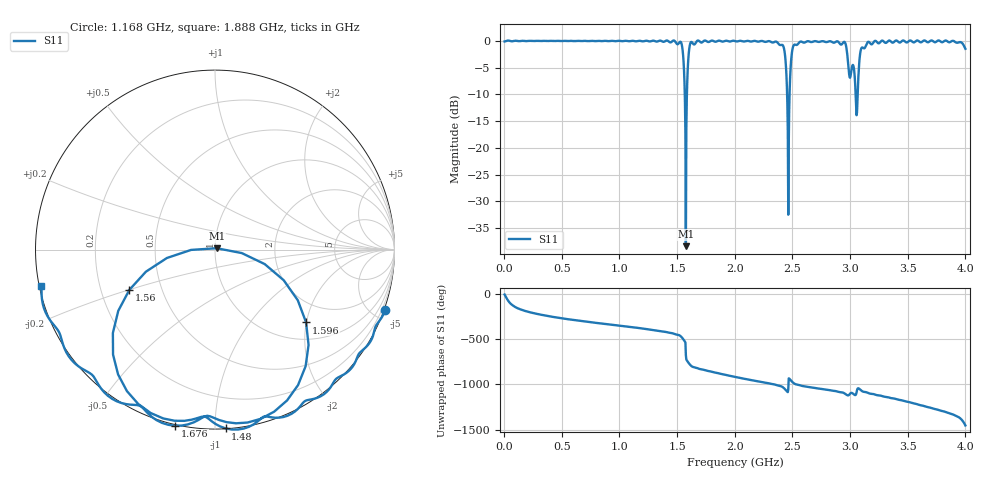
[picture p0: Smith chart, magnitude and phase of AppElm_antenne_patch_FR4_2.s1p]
! TOUCHSTONE file generated by CST MICROWAVE STUDIO
! Date and time: Tue Jun 14 12:12:43 2022
! Project name: AppElm_antenne_patch_FR4.cst
! Parameters = {L=45; W=58.5; e=0.035; h=1.6; lambda=0.190476; ls=120; w0=2.032; w1=0.847; ws=120; y0=18; y1=23.8}
! Header version: 2018
! Port assignment regex: !\s*Touchstone port\s*([0-9]+)\s*=\s*(CST MWS port|CST DS port)\s*([0-9]+|Zmin|Zmax)\s*\(\"(.*)\"\)(\s*mode\s*([0-9]+))?.*
! Touchstone port assignment:
! Touchstone port 1 = CST MWS port 1 ("")
# GHz S MA R 50
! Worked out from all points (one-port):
!   1000 points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, 4 MHz to 4 GHz, reference 50 ohm
!   lowest |S11| = -38.4 dB at 1.576 GHz (marker M1), VSWR 1.02, Z = 50.9 + j0.783 ohm
!   |S11| at or under -10 dB: 1.566 GHz to 1.585 GHz (18.51 MHz wide, 1.17 % of centre); 2.454 GHz to 2.475 GHz (21.4 MHz wide, 0.868 % of centre); 3.048 GHz to 3.066 GHz (17.62 MHz wide, 0.576 % of centre)
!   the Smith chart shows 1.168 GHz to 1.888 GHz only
!   S11 on the Smith chart (normalised r, x): 1.168 GHz: -0.08, -5.80; 1.48 GHz: 0.00, -1.06; 1.56 GHz: 0.32, -0.20; 1.596 GHz: 1.42, -1.99; 1.676 GHz: -0.01, -0.80; 1.888 GHz: 0.01, -0.10
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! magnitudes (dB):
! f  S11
! 4 MHz  -0.1
! 504 MHz  0.0
! 1.004 GHz  0.0
! 1.168 GHz  0.0
! 1.48 GHz  0.0
! 1.504 GHz  -0.6
! 1.54 GHz  -0.6
! 1.56 GHz  -5.6
! 1.576 GHz  -38.4
! 1.596 GHz  -3.7
! 1.604 GHz  -1.7
! 1.616 GHz  -0.3
! 1.676 GHz  0.1
! 1.888 GHz  -0.1
! 2.004 GHz  0.0
! 2.408 GHz  -0.7
! 2.432 GHz  -2.0
! 2.448 GHz  -6.4
! 2.464 GHz  -32.5
! 2.48 GHz  -6.9
! 2.504 GHz  -1.2
! 2.944 GHz  -0.2
! 3.004 GHz  -6.6
! 3.056 GHz  -13.9
! 3.096 GHz  -1.5
! 3.152 GHz  -0.2
! 3.504 GHz  -0.1
! 4 GHz  -1.5
